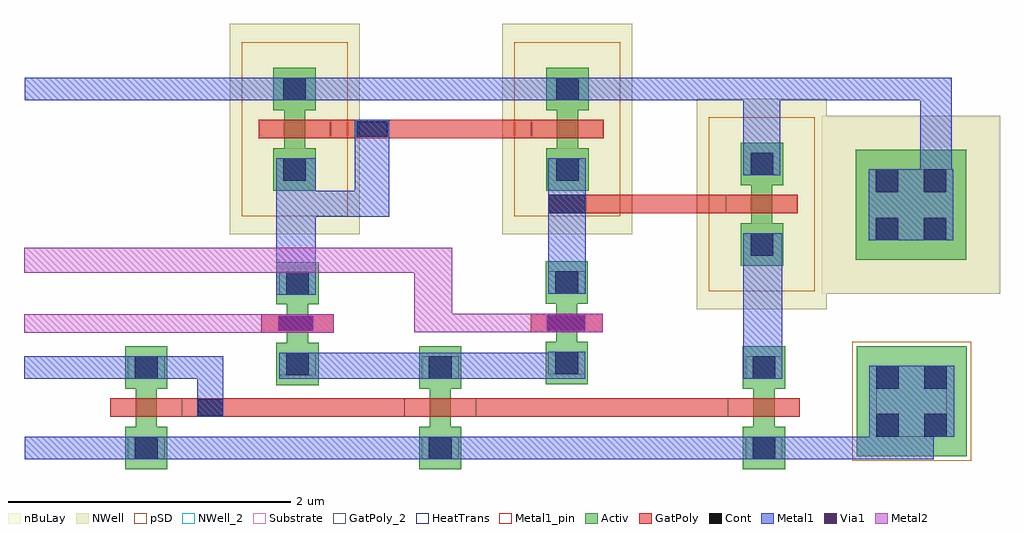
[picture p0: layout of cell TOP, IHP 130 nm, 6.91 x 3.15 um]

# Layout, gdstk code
from math import pi, radians
import gdstk
lib = gdstk.Library(unit=1e-6, precision=1e-09)
def R(c, l, rs):  # rectangles x0, y0, x1, y1
    for r in rs: c.add(gdstk.rectangle(r[:2], r[2:], *l))
def P(c, l, *ps):  # polygons
    for p in ps: c.add(gdstk.Polygon(p, *l))
Activ = (1, 0)
GatPoly = (5, 0)
GatPoly_2 = (5, 2)
Cont = (6, 0)
Metal1 = (8, 0)
Metal1_pin = (8, 2)
Metal2 = (10, 0)
pSD = (14, 0)
Via1 = (19, 0)
NWell = (31, 0)
NWell_2 = (31, 2)
nBuLay = (32, 0)
Substrate = (40, 0)
HeatTrans = (51, 0)

nmos = lib.new_cell('nmos')
R(nmos, Activ, [(0,0,0.3,0.3), (0.57,0,0.87,0.3), (0,0.075,0.87,0.225)])
R(nmos, GatPoly, [(0.37,-0.105,0.5,0.405)])
R(nmos, GatPoly_2, [(0.37,-0.105,0.5,0.405)])
R(nmos, Cont, [(0.07,0.07,0.23,0.23), (0.64,0.07,0.8,0.23)])
R(nmos, Metal1, [(0.07,0.02,0.23,0.28), (0.64,0.02,0.8,0.28)])
R(nmos, Metal1_pin, [(0.07,0.02,0.23,0.28), (0.64,0.02,0.8,0.28)])
R(nmos, HeatTrans, [(0.37,-0.105,0.5,0.405)])
nmos.add(gdstk.Label('nmos', (0.435,0.15), layer=63, texttype=0))
nmos.add(gdstk.Label('nmos', (0.435,0.15), layer=51, texttype=0))

pmos = lib.new_cell('pmos')
R(pmos, Activ, [(0,0,0.3,0.3), (0.57,0,0.87,0.3), (0,0.075,0.87,0.225)])
R(pmos, GatPoly, [(0.37,-0.105,0.5,0.405), (0.37,-0.105,0.5,0.405)])
R(pmos, Cont, [(0.07,0.07,0.23,0.23), (0.64,0.07,0.8,0.23)])
R(pmos, Metal1, [(0.07,0.02,0.23,0.28), (0.07,0.02,0.23,0.28), (0.64,0.02,0.8,0.28), (0.64,0.02,0.8,0.28)])
R(pmos, pSD, [(-0.18,-0.225,1.05,0.525)])
R(pmos, NWell, [(-0.31,-0.31,1.18,0.61)])
R(pmos, Substrate, [(0.57,0,0.87,0.3)])
R(pmos, HeatTrans, [(0.37,-0.105,0.5,0.405)])
pmos.add(gdstk.Label('pmos', (0.435,0.15), layer=63, texttype=0))
pmos.add(gdstk.Label('pmos', (0.435,0.15), layer=51, texttype=0))

ntap1 = lib.new_cell('ntap1')
R(ntap1, Activ, [(0,0,0.78,0.78)])
R(ntap1, Cont, [(0.14,0.14,0.3,0.3), (0.48,0.14,0.64,0.3), (0.14,0.48,0.3,0.64), (0.48,0.48,0.64,0.64)])
R(ntap1, Metal1, [(0.14,0.09,0.64,0.69)])
R(ntap1, Metal1_pin, [(0.14,0.09,0.64,0.69), (0.14,0.14,0.64,0.64)])
R(ntap1, NWell, [(-0.24,-0.24,1.02,1.02), (0,0,0.78,0.78)])
R(ntap1, NWell_2, [(0,0,0.78,0.78)])
R(ntap1, nBuLay, [(-0.24,-0.24,1.02,1.02)])
ntap1.add(gdstk.Label('well', (0.39,0.01), layer=63, texttype=0))
ntap1.add(gdstk.Label('well', (0.39,0.01), layer=31, texttype=0))

ptap1 = lib.new_cell('ptap1')
R(ptap1, Activ, [(0,0,0.78,0.78)])
R(ptap1, Cont, [(0.14,0.14,0.3,0.3), (0.48,0.14,0.64,0.3), (0.14,0.48,0.3,0.64), (0.48,0.48,0.64,0.64)])
R(ptap1, Metal1, [(0.14,0.09,0.64,0.69), (0.14,0.14,0.64,0.64)])
R(ptap1, Metal1_pin, [(0.14,0.14,0.64,0.64)])
R(ptap1, pSD, [(-0.03,-0.03,0.81,0.81)])
R(ptap1, Substrate, [(0,0,0.78,0.78)])
ptap1.add(gdstk.Label('sub!', (0.39,0.01), layer=63, texttype=0))
ptap1.add(gdstk.Label('sub!', (0.39,0.01), layer=40, texttype=0))

top = lib.new_cell('TOP')
R(top, GatPoly, [(2.09,0.345,4.68,0.475), (4.68,0.345,6.97,0.475), (5.19,1.785,6.955,1.915), (3.14,2.315,5.58,2.445)])
R(top, Cont, [(2.71,0.35,2.885,0.47), (3.28,0.955,3.525,1.06), (5.18,0.955,5.45,1.065), (5.19,1.785,5.455,1.915), (3.835,2.325,4.055,2.435)])
R(top, Metal1, [(1.485,0.045,6.845,0.205), (3.285,0.615,5.45,0.8), (6.57,0.615,6.845,1.645), (3.28,0.955,3.525,1.06), (5.18,0.955,5.45,1.065), (3.265,1.21,3.545,2.175), (5.19,1.215,5.455,2.175), (1.485,2.585,2.215,2.745), (2.215,2.585,5.455,2.745)])
P(top, Metal1, [(6.57,2.055),(6.57,2.585),(5.455,2.585),(5.455,2.745),(6.83,2.745),(6.83,2.055)],
  [(3.545,1.76),(3.545,1.945),(3.82,1.945),(3.82,2.445),(4.065,2.445),(4.065,1.76)],
  [(2.705,0.345),(2.705,0.615),(1.48,0.615),(1.48,0.775),(2.89,0.775),(2.89,0.345)],
  [(7.82,1.935),(7.82,2.585),(6.83,2.585),(6.83,2.745),(8.045,2.745),(8.045,1.935)],
  [(6.585,0.045),(6.585,0.205),(7.67,0.205),(7.67,0.27),(7.915,0.27),(7.915,0.045)])
R(top, Metal2, [(1.48,0.94,3.67,1.07), (4.24,1.365,4.51,1.54)])
P(top, Metal2, [(4.24,0.945),(5.575,0.945),(5.575,1.075),(4.51,1.075),(4.51,1.365),(1.48,1.365),(1.48,1.54),(4.24,1.54)])
R(top, Via1, [(3.28,0.955,3.525,1.06), (5.18,0.955,5.45,1.065)])
top.add(gdstk.Reference(nmos, (3.265,1.44), rotation=3*pi/2))
top.add(gdstk.Reference(nmos, (5.17,1.445), rotation=3*pi/2))
top.add(gdstk.Reference(nmos, (4.575,-0.025), rotation=pi/2))
top.add(gdstk.Reference(nmos, (6.865,-0.025), rotation=pi/2))
top.add(gdstk.Reference(nmos, (2.495,-0.025), rotation=pi/2))
top.add(gdstk.Reference(pmos, (3.245,2.815), rotation=3*pi/2))
top.add(gdstk.Reference(pmos, (5.175,2.815), rotation=3*pi/2))
top.add(gdstk.Reference(pmos, (6.55,2.285), rotation=3*pi/2))
top.add(gdstk.Reference(ntap1, (7.365,2.235), rotation=3*pi/2))
top.add(gdstk.Reference(ptap1, (7.37,0.845), rotation=3*pi/2))

lib.write_gds('TOP.gds')
